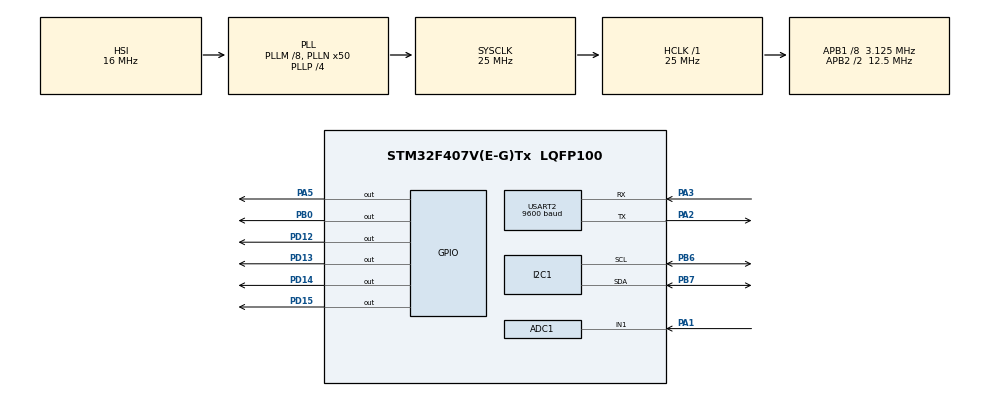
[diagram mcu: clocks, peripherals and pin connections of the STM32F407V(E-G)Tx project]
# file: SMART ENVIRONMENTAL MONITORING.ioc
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ADC1.Channel-0\#ChannelRegularConversion=ADC_CHANNEL_1
ADC1.NbrOfConversionFlag=1
ADC1.Rank-0\#ChannelRegularConversion=1
ADC1.SamplingTime-0\#ChannelRegularConversion=ADC_SAMPLETIME_3CYCLES
ADC1.master=1
Mcu.Family=STM32F4
Mcu.Name=STM32F407V(E-G)Tx
Mcu.Package=LQFP100
NVIC.ADC_IRQn=true\:0\:0\:false\:false\:true\:true\:true\:true
NVIC.I2C1_ER_IRQn=true\:0\:0\:false\:false\:true\:true\:true\:true
NVIC.I2C1_EV_IRQn=true\:0\:0\:false\:false\:true\:true\:true\:true
NVIC.PriorityGroup=NVIC_PRIORITYGROUP_0
NVIC.USART2_IRQn=true\:0\:0\:false\:false\:true\:true\:true\:true
PA1.Signal=ADCx_IN1
PA2.Mode=Asynchronous
PA2.Signal=USART2_TX
PA3.Mode=Asynchronous
PA3.Signal=USART2_RX
PA5.Signal=GPIO_Output
PB0.Signal=GPIO_Output
PB6.Mode=I2C
PB6.Signal=I2C1_SCL
PB7.Mode=I2C
PB7.Signal=I2C1_SDA
PD12.PinState=GPIO_PIN_RESET
PD12.Signal=GPIO_Output
PD13.PinState=GPIO_PIN_RESET
PD13.Signal=GPIO_Output
PD14.PinState=GPIO_PIN_RESET
PD14.Signal=GPIO_Output
PD15.PinState=GPIO_PIN_RESET
PD15.Signal=GPIO_Output
ProjectManager.HeapSize=0x200
ProjectManager.StackSize=0x400
ProjectManager.TargetToolchain=STM32CubeIDE
RCC.48MHZClocksFreq_Value=14285714.285714285
RCC.AHBFreq_Value=25000000
RCC.APB1CLKDivider=RCC_HCLK_DIV8
RCC.APB1Freq_Value=3125000
RCC.APB1TimFreq_Value=6250000
RCC.APB2CLKDivider=RCC_HCLK_DIV2
RCC.APB2Freq_Value=12500000
RCC.APB2TimFreq_Value=25000000
RCC.CortexFreq_Value=25000000
RCC.HCLKFreq_Value=25000000
RCC.HSE_VALUE=8000000
RCC.HSI_VALUE=16000000
RCC.PLLM=8
RCC.PLLN=50
RCC.PLLP=RCC_PLLP_DIV4
RCC.PLLQ=7
RCC.SYSCLKFreq_VALUE=25000000
RCC.SYSCLKSource=RCC_SYSCLKSOURCE_PLLCLK
RCC.VCOOutputFreq_Value=100000000
SH.ADCx_IN1.0=ADC1_IN1,IN1
USART2.BaudRate=9600
USART2.VirtualMode=VM_ASYNC
board=STM32F407G-DISC1

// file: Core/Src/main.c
/* USER CODE BEGIN Header */
/**
  ******************************************************************************
  * @file           : main.c
  * @brief          : Smart Environmental Monitoring System
  ******************************************************************************
  */
/* USER CODE END Header */
#include "main.h"

/* USER CODE BEGIN Includes */
#include "lcd.h"
#include "mq2.h"
#include "dht11.h"
#include "buzzer.h"
#include "led.h"
/* USER CODE END Includes */

ADC_HandleTypeDef hadc1;

I2C_HandleTypeDef hi2c1;

UART_HandleTypeDef huart2;

/* USER CODE BEGIN PV */
uint16_t smoke_level = 0;
uint8_t temperature = 25;
uint8_t humidity = 50;
bool smoke_alert = false;
bool temp_alert = false;
bool humidity_alert = false;
char uart_buffer[UART_BUFFER_SIZE];
/* USER CODE END PV */

void SystemClock_Config(void);
static void MX_GPIO_Init(void);
static void MX_I2C1_Init(void);
static void MX_ADC1_Init(void);
static void MX_USART2_UART_Init(void);

/* USER CODE BEGIN 0 */

/**
  * @brief  Microsecond delay using DWT
  */
void delay_us(uint32_t us)
{
    if (!(CoreDebug->DEMCR & CoreDebug_DEMCR_TRCENA_Msk))
    {
        CoreDebug->DEMCR |= CoreDebug_DEMCR_TRCENA_Msk;
        DWT->CYCCNT = 0;
        DWT->CTRL |= DWT_CTRL_CYCCNTENA_Msk;
    }

    uint32_t startTick = DWT->CYCCNT;
    uint32_t delayTicks = us * (SystemCoreClock / 1000000);

    while ((DWT->CYCCNT - startTick) < delayTicks);
}

/**
  * @brief  Send string via UART
  */
void UART_SendString(const char *str)
{
    HAL_UART_Transmit(&huart2, (uint8_t*)str, strlen(str), HAL_MAX_DELAY);
}

/**
  * @brief  Initialize all modules
  */
void System_Init(void)
{
    UART_SendString("\r\n=================================\r\n");
    UART_SendString("Smart Environmental Monitor\r\n");
    UART_SendString("=================================\r\n\r\n");

    if (!lcd16x2_i2c_init(&hi2c1))
    {
        UART_SendString("LCD not found!\r\n");
    }
    else
    {
        UART_SendString("LCD OK\r\n");
        lcd16x2_i2c_clear();
        lcd16x2_i2c_setCursor(0, 0);
        lcd16x2_i2c_printf("ENV MONITOR");
        lcd16x2_i2c_setCursor(1, 0);
        lcd16x2_i2c_printf("Starting...");
    }

    MQ2_Init();
    UART_SendString("MQ2 OK\r\n");

    DHT11_Init();
    UART_SendString("DHT11 OK\r\n");

    Buzzer_Init();
    LED_Init();

    LED_All_On();
    Buzzer_Beep(200);
    HAL_Delay(500);
    LED_All_Off();

    UART_SendString("System Ready!\r\n\r\n");
    lcd16x2_i2c_clear();
}

/**
  * @brief  Read all sensors
  */
void Read_Sensors(void)
{
    smoke_level = MQ2_ReadAverage(10);
    smoke_alert = (smoke_level > SMOKE_THRESHOLD);

    if (DHT11_Read(&temperature, &humidity))
    {
        temp_alert = (temperature > TEMP_HIGH_THRESHOLD) ||
                     (temperature < TEMP_LOW_THRESHOLD);
        humidity_alert = (humidity > HUMIDITY_HIGH_THRESHOLD) ||
                         (humidity < HUMIDITY_LOW_THRESHOLD);
    }
}

/**
  * @brief  Process alerts
  */
void Process_Alerts(void)
{
    if (!smoke_alert && !temp_alert && !humidity_alert)
    {
        LED_Green_On();
        LED_Orange_Off();
        LED_Red_Off();
        LED_Blue_Off();
        Buzzer_Off();
    }
    else
    {
        LED_Green_Off();

        if (smoke_alert)
        {
            LED_Red_On();
            Buzzer_Alert();
        }
        else
        {
            LED_Red_Off();
        }

        if (temp_alert)
            LED_Orange_On();
        else
            LED_Orange_Off();

        if (humidity_alert)
            LED_Blue_On();
        else
            LED_Blue_Off();
    }
}

/**
  * @brief  Update LCD
  */
void Update_Display(void)
{
    char line1[17], line2[17];

    if (smoke_alert)
        snprintf(line1, 17, "SMOKE:%4d ALERT", smoke_level);
    else
        snprintf(line1, 17, "SMOKE:%4d  OK  ", smoke_level);

    snprintf(line2, 17, "T:%2dC  H:%2d%%    ", temperature, humidity);

    lcd16x2_i2c_setCursor(0, 0);
    lcd16x2_i2c_printf(line1);
    lcd16x2_i2c_setCursor(1, 0);
    lcd16x2_i2c_printf(line2);
}

/**
  * @brief  Send UART data
  */
void Send_UART_Data(void)
{
    snprintf(uart_buffer, UART_BUFFER_SIZE,
             "Smoke:%4d | T:%2dC | H:%2d%% | S:%d T:%d H:%d\r\n",
             smoke_level, temperature, humidity,
             smoke_alert, temp_alert, humidity_alert);
    UART_SendString(uart_buffer);
}

/* USER CODE END 0 */

int main(void)
{

  /* MCU Configuration--------------------------------------------------------*/

  /* Reset of all peripherals, Initializes the Flash interface and the Systick. */
  HAL_Init();

  /* Configure the system clock */
  SystemClock_Config();

  /* Initialize all configured peripherals */
  MX_GPIO_Init();
  MX_I2C1_Init();
  MX_ADC1_Init();
  MX_USART2_UART_Init();
  /* USER CODE BEGIN 2 */
    System_Init();
  /* USER CODE END 2 */

  /* Infinite loop */
  /* USER CODE BEGIN WHILE */
    while (1)
    {
        Read_Sensors();
        Process_Alerts();
        Update_Display();
        Send_UART_Data();
        HAL_Delay(1000);
    /* USER CODE END WHILE */

    }
}

void SystemClock_Config(void)
{
  RCC_OscInitTypeDef RCC_OscInitStruct = {0};
  RCC_ClkInitTypeDef RCC_ClkInitStruct = {0};

  /** Configure the main internal regulator output voltage
  */
  __HAL_RCC_PWR_CLK_ENABLE();
  __HAL_PWR_VOLTAGESCALING_CONFIG(PWR_REGULATOR_VOLTAGE_SCALE1);

  /** Initializes the RCC Oscillators according to the specified parameters
  * in the RCC_OscInitTypeDef structure.
  */
  RCC_OscInitStruct.OscillatorType = RCC_OSCILLATORTYPE_HSI;
  RCC_OscInitStruct.HSIState = RCC_HSI_ON;
  RCC_OscInitStruct.HSICalibrationValue = RCC_HSICALIBRATION_DEFAULT;
  RCC_OscInitStruct.PLL.PLLState = RCC_PLL_ON;
  RCC_OscInitStruct.PLL.PLLSource = RCC_PLLSOURCE_HSI;
  RCC_OscInitStruct.PLL.PLLM = 8;
  RCC_OscInitStruct.PLL.PLLN = 50;
  RCC_OscInitStruct.PLL.PLLP = RCC_PLLP_DIV4;
  RCC_OscInitStruct.PLL.PLLQ = 7;
  if (HAL_RCC_OscConfig(&RCC_OscInitStruct) != HAL_OK)
  {
    Error_Handler();
  }

  /** Initializes the CPU, AHB and APB buses clocks
  */
  RCC_ClkInitStruct.ClockType = RCC_CLOCKTYPE_HCLK|RCC_CLOCKTYPE_SYSCLK
                              |RCC_CLOCKTYPE_PCLK1|RCC_CLOCKTYPE_PCLK2;
  RCC_ClkInitStruct.SYSCLKSource = RCC_SYSCLKSOURCE_PLLCLK;
  RCC_ClkInitStruct.AHBCLKDivider = RCC_SYSCLK_DIV1;
  RCC_ClkInitStruct.APB1CLKDivider = RCC_HCLK_DIV8;
  RCC_ClkInitStruct.APB2CLKDivider = RCC_HCLK_DIV2;

  if (HAL_RCC_ClockConfig(&RCC_ClkInitStruct, FLASH_LATENCY_0) != HAL_OK)
  {
    Error_Handler();
  }
}

static void MX_ADC1_Init(void)
{

  ADC_ChannelConfTypeDef sConfig = {0};

  /** Configure the global features of the ADC (Clock, Resolution, Data Alignment and number of conversion)
  */
  hadc1.Instance = ADC1;
  hadc1.Init.ClockPrescaler = ADC_CLOCK_SYNC_PCLK_DIV2;
  hadc1.Init.Resolution = ADC_RESOLUTION_12B;
  hadc1.Init.ScanConvMode = DISABLE;
  hadc1.Init.ContinuousConvMode = DISABLE;
  hadc1.Init.DiscontinuousConvMode = DISABLE;
  hadc1.Init.ExternalTrigConvEdge = ADC_EXTERNALTRIGCONVEDGE_NONE;
  hadc1.Init.ExternalTrigConv = ADC_SOFTWARE_START;
  hadc1.Init.DataAlign = ADC_DATAALIGN_RIGHT;
  hadc1.Init.NbrOfConversion = 1;
  hadc1.Init.DMAContinuousRequests = DISABLE;
  hadc1.Init.EOCSelection = ADC_EOC_SINGLE_CONV;
  if (HAL_ADC_Init(&hadc1) != HAL_OK)
  {
    Error_Handler();
  }

  /** Configure for the selected ADC regular channel its corresponding rank in the sequencer and its sample time.
  */
  sConfig.Channel = ADC_CHANNEL_1;
  sConfig.Rank = 1;
  sConfig.SamplingTime = ADC_SAMPLETIME_3CYCLES;
  if (HAL_ADC_ConfigChannel(&hadc1, &sConfig) != HAL_OK)
  {
    Error_Handler();
  }

}

static void MX_I2C1_Init(void)
{

  hi2c1.Instance = I2C1;
  hi2c1.Init.ClockSpeed = 100000;
  hi2c1.Init.DutyCycle = I2C_DUTYCYCLE_2;
  hi2c1.Init.OwnAddress1 = 0;
  hi2c1.Init.AddressingMode = I2C_ADDRESSINGMODE_7BIT;
  hi2c1.Init.DualAddressMode = I2C_DUALADDRESS_DISABLE;
  hi2c1.Init.OwnAddress2 = 0;
  hi2c1.Init.GeneralCallMode = I2C_GENERALCALL_DISABLE;
  hi2c1.Init.NoStretchMode = I2C_NOSTRETCH_DISABLE;
  if (HAL_I2C_Init(&hi2c1) != HAL_OK)
  {
    Error_Handler();
  }

}

static void MX_USART2_UART_Init(void)
{

  huart2.Instance = USART2;
  huart2.Init.BaudRate = 9600;
  huart2.Init.WordLength = UART_WORDLENGTH_8B;
  huart2.Init.StopBits = UART_STOPBITS_1;
  huart2.Init.Parity = UART_PARITY_NONE;
  huart2.Init.Mode = UART_MODE_TX_RX;
  huart2.Init.HwFlowCtl = UART_HWCONTROL_NONE;
  huart2.Init.OverSampling = UART_OVERSAMPLING_16;
  if (HAL_UART_Init(&huart2) != HAL_OK)
  {
    Error_Handler();
  }

}

static void MX_GPIO_Init(void)
{
  GPIO_InitTypeDef GPIO_InitStruct = {0};

  /* GPIO Ports Clock Enable */
  __HAL_RCC_GPIOA_CLK_ENABLE();
  __HAL_RCC_GPIOB_CLK_ENABLE();
  __HAL_RCC_GPIOD_CLK_ENABLE();

  /*Configure GPIO pin Output Level */
  HAL_GPIO_WritePin(GPIOA, GPIO_PIN_5, GPIO_PIN_RESET);

  /*Configure GPIO pin Output Level */
  HAL_GPIO_WritePin(GPIOB, GPIO_PIN_0, GPIO_PIN_RESET);

  /*Configure GPIO pin Output Level */
  HAL_GPIO_WritePin(GPIOD, GPIO_PIN_12|GPIO_PIN_13|GPIO_PIN_14|GPIO_PIN_15, GPIO_PIN_RESET);

  /*Configure GPIO pin : PA5 */
  GPIO_InitStruct.Pin = GPIO_PIN_5;
  GPIO_InitStruct.Mode = GPIO_MODE_OUTPUT_PP;
  GPIO_InitStruct.Pull = GPIO_NOPULL;
  GPIO_InitStruct.Speed = GPIO_SPEED_FREQ_LOW;
  HAL_GPIO_Init(GPIOA, &GPIO_InitStruct);

  /*Configure GPIO pin : PB0 */
  GPIO_InitStruct.Pin = GPIO_PIN_0;
  GPIO_InitStruct.Mode = GPIO_MODE_OUTPUT_PP;
  GPIO_InitStruct.Pull = GPIO_NOPULL;
  GPIO_InitStruct.Speed = GPIO_SPEED_FREQ_LOW;
  HAL_GPIO_Init(GPIOB, &GPIO_InitStruct);

  /*Configure GPIO pins : PD12 PD13 PD14 PD15 */
  GPIO_InitStruct.Pin = GPIO_PIN_12|GPIO_PIN_13|GPIO_PIN_14|GPIO_PIN_15;
  GPIO_InitStruct.Mode = GPIO_MODE_OUTPUT_PP;
  GPIO_InitStruct.Pull = GPIO_NOPULL;
  GPIO_InitStruct.Speed = GPIO_SPEED_FREQ_LOW;
  HAL_GPIO_Init(GPIOD, &GPIO_InitStruct);

}

void Error_Handler(void)
{
  __disable_irq();
  while (1)
  {
  }
}
